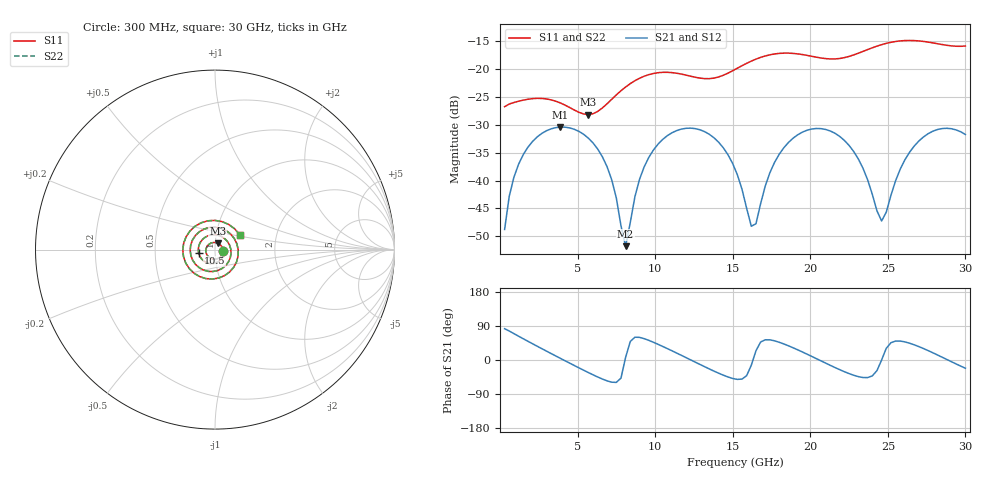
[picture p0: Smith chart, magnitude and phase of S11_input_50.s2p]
! Created Tue Apr 13 08:52:09 2021
# hz S ri R 50
! 2 Port Network Data from SP1.SP block
! freq  reS11  imS11  reS21  imS21  reS12  imS12  reS22  imS22
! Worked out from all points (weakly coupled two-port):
!   100 points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, 300 MHz to 30 GHz, reference 50 ohm
!   highest |S21| = -30.42 dB at 3.9 GHz (marker M1); lowest = -51.8 dB at 8.1 GHz (marker M2)
!   lowest |S11| = -28.2 dB at 5.7 GHz (marker M3), VSWR 1.08, Z = 51.5 + j3.67 ohm
!   |S11| at or under -10 dB: start of sweep to end of sweep
!   |S22| runs from -28.2 to -14.9 dB; largest |S21 - S12| = 0
!   S11 on the Smith chart (normalised r, x): 300 MHz: 1.09, -0.02; 10.5 GHz: 0.83, -0.03; 30 GHz: 1.30, +0.22
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3e8  0.0451 -0.00846  0.000472 0.00362  0.000472 0.00362  0.0451 -0.00846
9e8  0.0357 -0.0351  0.00374 0.01  0.00374 0.01  0.0357 -0.0351
1.5e9  0.0132 -0.0508  0.00951 0.0142  0.00951 0.0142  0.0132 -0.0508
3.9e9  -0.0489 0.0076  0.03 0.00223  0.03 0.00223  -0.0489 0.0076
5.4e9  0.00261 0.0394  0.0231 -0.0118  0.0231 -0.0118  0.00261 0.0394
5.7e9  0.0158 0.0356  0.0201 -0.0131  0.0201 -0.0131  0.0158 0.0356
7.2e9  0.0471 -0.0252  0.00532 -0.0087  0.00532 -0.0087  0.0471 -0.0252
8.1e9  0.0216 -0.0653  0.00256 0.00032  0.00256 0.00032  0.0216 -0.0653
9e9  -0.0274 -0.0779  0.00519 0.00888  0.00519 0.00888  -0.0274 -0.0779
1.02e10  -0.0851 -0.0362  0.016 0.014  0.016 0.014  -0.0851 -0.0362
1.05e10  -0.0915 -0.0179  0.019 0.0136  0.019 0.0136  -0.0915 -0.0179
1.32e10  0.0313 0.0756  0.0261 -0.00838  0.0261 -0.00838  0.0313 0.0756
1.53e10  0.0752 -0.0681  0.00709 -0.0088  0.00709 -0.0088  0.0752 -0.0681
1.62e10  0.0158 -0.1164  0.00378 -0.000937  0.00378 -0.000937  0.0158 -0.1164
1.65e10  -0.0102 -0.122  0.00374 0.00168  0.00374 0.00168  -0.0102 -0.122
1.8e10  -0.1245 -0.0587  0.0118 0.0125  0.0118 0.0125  -0.1245 -0.0587
2.01e10  -0.0605 0.1147  0.0286 0.00474  0.0286 0.00474  -0.0605 0.1147
2.28e10  0.1287 -0.0351  0.0139 -0.0118  0.0139 -0.0118  0.1287 -0.0351
2.46e10  -0.0156 -0.1642  0.00434 4.58e-06  0.00434 4.58e-06  -0.0156 -0.1642
2.52e10  -0.0859 -0.1503  0.00516 0.00526  0.00516 0.00526  -0.0859 -0.1503
2.73e10  -0.1611 0.0715  0.0213 0.0124  0.0213 0.0124  -0.1611 0.0715
3e10  0.1367 0.0836  0.024 -0.00957  0.024 -0.00957  0.1367 0.0836
